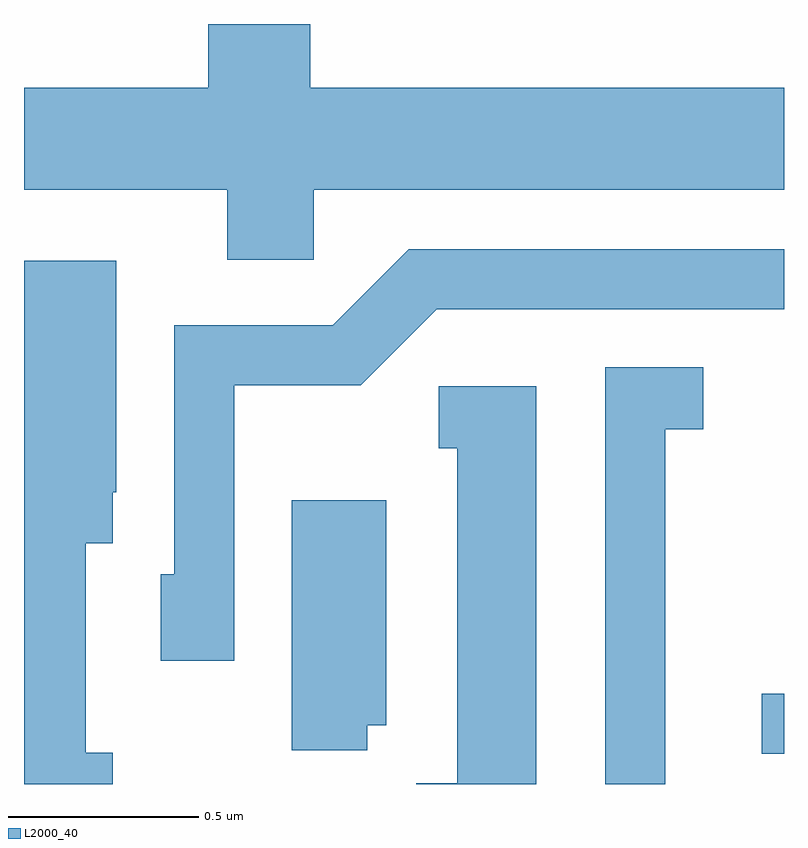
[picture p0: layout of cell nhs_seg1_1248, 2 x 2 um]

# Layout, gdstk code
import gdstk
lib = gdstk.Library(unit=1e-6, precision=1e-09)
def R(c, l, rs):  # rectangles x0, y0, x1, y1
    for r in rs: c.add(gdstk.rectangle(r[:2], r[2:], *l))
def P(c, l, *ps):  # polygons
    for p in ps: c.add(gdstk.Polygon(p, *l))
L2000_40 = (2000, 40)

nhs_seg1_1248 = lib.new_cell('nhs_seg1_1248')
R(nhs_seg1_1248, L2000_40, [(196.553,864.791,196.611,864.949)])
P(nhs_seg1_1248, L2000_40, [(195.374,866.276),(196.611,866.276),(196.611,866.544),(195.364,866.544),(195.364,866.712),(195.096,866.712),(195.096,866.544),(194.611,866.544),(194.611,866.276),(195.146,866.276),(195.146,866.091),(195.374,866.091)],
  [(195.164,865.761),(195.497,865.761),(195.697,865.961),(196.611,865.961),(196.611,866.119),(195.624,866.119),(195.424,865.919),(195.006,865.919),(195.006,865.264),(194.971,865.264),(194.971,865.036),(195.164,865.036)],
  [(194.844,864.794),(194.774,864.794),(194.774,865.346),(194.844,865.346),(194.844,865.48),(194.854,865.48),(194.854,866.089),(194.611,866.089),(194.611,864.712),(194.844,864.712)],
  [(196.299,865.646),(196.398,865.646),(196.398,865.809),(196.141,865.809),(196.141,864.712),(196.299,864.712)],
  [(195.959,865.759),(195.703,865.759),(195.703,865.596),(195.751,865.596),(195.751,864.714),(195.643,864.714),(195.643,864.712),(195.959,864.712)],
  [(195.514,864.866),(195.564,864.866),(195.564,865.459),(195.316,865.459),(195.316,864.801),(195.514,864.801)])

lib.write_gds('nhs_seg1_1248.gds')
